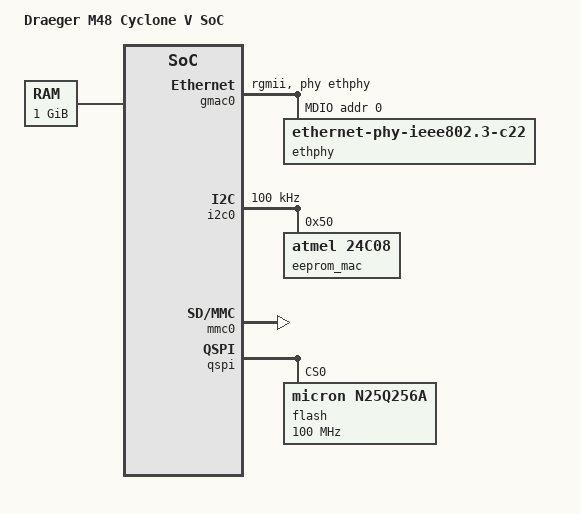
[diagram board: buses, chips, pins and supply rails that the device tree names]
// SPDX-License-Identifier: GPL-2.0+
/*
 *  (C) Copyright 2020 Draeger and Licensors, info@draeger.com
 */
#include "socfpga_cyclone5.dtsi"

/ {
	model = "Draeger M48 Cyclone V SoC";
	compatible = "draeger,socfpga-m48", "altr,socfpga-cyclone5", "altr,socfpga";

	chosen {
		stdout-path = "serial0:115200n8";
	};

	memory@0 {
		device_type = "memory";
		reg = <0x0 0x40000000>;
	};

	aliases {
		/* this allow the ethaddr uboot environment variable contents
		 * to be added to the gmac0 device tree blob.
		 */
		ethernet0 = &gmac0;
	};
};

&gmac0 {
	status = "okay";
	phy-mode = "rgmii";
	phy-handle = <&ethphy>;

	mdio0 {
		#address-cells = <1>;
		#size-cells = <0>;
		compatible = "snps,dwmac-mdio";

		ethphy: ethernet-phy@0 {
			compatible = "ethernet-phy-ieee802.3-c22";
			reg = <0>;
			rxc-skew-ps  = <1860>;
			rxd0-skew-ps = <0>;
			rxd1-skew-ps = <0>;
			rxd2-skew-ps = <0>;
			rxd3-skew-ps = <0>;
			rxdv-skew-ps = <0>;
			txc-skew-ps  = <900>;
			txd0-skew-ps = <0>;
			txd1-skew-ps = <0>;
			txd2-skew-ps = <0>;
			txd3-skew-ps = <0>;
			txen-skew-ps = <0>;
		};
	};
};

&gpio0 {
	status = "okay";
};

&gpio1 {
	status = "okay";
};

&gpio2 {
	status = "okay";
};

&i2c0 {
	status = "okay";
	clock-frequency = <100000>;

	eeprom_mac: eeprom@50 {
		compatible = "atmel,24c08";
		reg = <0x50>;
		pagesize = <16>;
	};
};

&mmc0 {
	status = "okay";
};

&qspi {
	status = "okay";

	flash: flash@0 {
		#address-cells = <1>;
		#size-cells = <1>;
		compatible = "micron,n25q256a", "jedec,spi-nor";
		reg = <0>;

		/* chip select */
		spi-max-frequency = <100000000>;
		m25p,fast-read;
		cdns,read-delay = <4>;
		cdns,tshsl-ns = <50>;
		cdns,tsd2d-ns = <50>;
		cdns,tchsh-ns = <4>;
		cdns,tslch-ns = <4>;
	};
};
